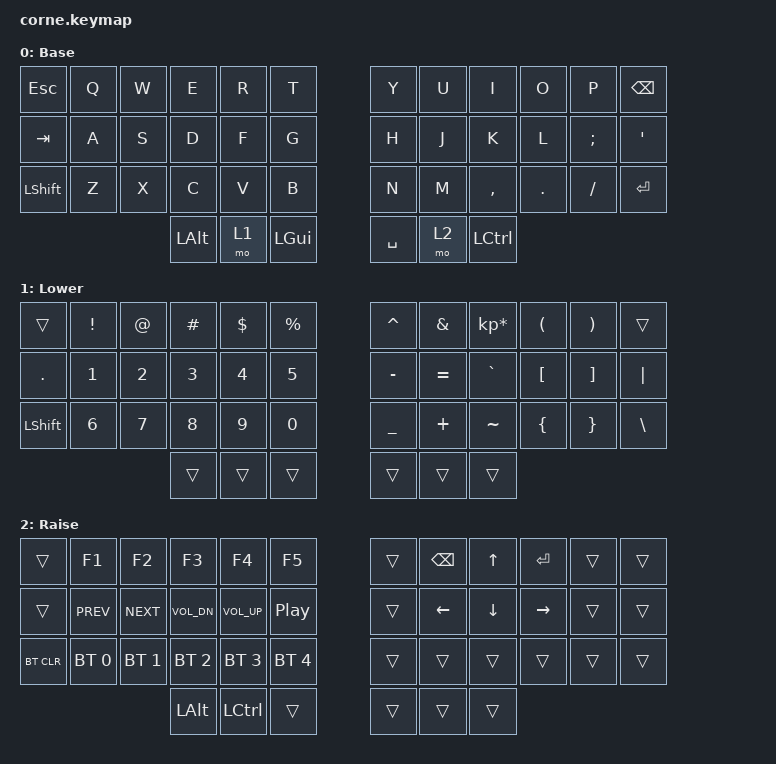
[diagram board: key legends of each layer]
/*
 * Copyright (c) 2020 The ZMK Contributors
 *
 * SPDX-License-Identifier: MIT
 */

#include <behaviors.dtsi>
#include <dt-bindings/zmk/keys.h>
#include <dt-bindings/zmk/bt.h>
#include <dt-bindings/zmk/backlight.h>

/ {
        keymap {
                compatible = "zmk,keymap";

                default_layer {
// -----------------------------------------------------------------------------------------
// | ESC  |  Q  |  W  |  E    |  R  |  T  |           |  Y  |  U   |  I  |  O  |  P  | BSPC |
// | TAB  |  A  |  S  |  D    |  F  |  G  |           |  H  |  J   |  K  |  L  |  ;  |  '   |
// | SHFT |  Z  |  X  |  C    |  V  |  B  |           |  N  |  M   |  ,  |  .  |  /  | ?    |
//                    | ALT   | LWR | GUI |           | SPC | RSE  | RET |
                        label = "Base";
                        bindings = <
   &kp ESC    &kp Q &kp W &kp E     &kp R   &kp T       &kp Y       &kp U  &kp I     &kp O   &kp P    &kp BSPC
   &kp TAB    &kp A &kp S &kp D     &kp F   &kp G       &kp H       &kp J  &kp K     &kp L   &kp SEMI &kp SQT
   &kp LSHFT  &kp Z &kp X &kp C     &kp V   &kp B       &kp N       &kp M  &kp COMMA &kp DOT &kp FSLH &kp RET
                          &kp LALT  &mo 1   &kp LGUI    &kp SPACE   &mo 2  &kp LCTRL
                        >;
                };
                lower_layer {
// -----------------------------------------------------------------------------------------
// |      |  !  |  @  |  #  |  $  |    %     |   |  ^  |  &  |  *  |  (  |  )  |   \   |
// |      |  1  |  2  |  3  |  4  |    5     |   |  -  |  =  |  `  |  [  |  ]  |  "|"  |
// | SHFT |  6  |  7  |  8  |  9  |    0     |   |  _  |  +  |  ~  |  {  |  }  |       |
//                     | GUI |     | ALT/ENT |   | HYPER/SPACE | BKSP |    |
                        label = "Lower";
                        bindings = <
   &trans     &kp EXCL  &kp AT &kp HASH &kp DLLR &kp PRCNT    &kp CARET  &kp AMPS  &kp KP_MULTIPLY &kp LPAR &kp RPAR &trans
   &kp DOT    &kp N1    &kp N2 &kp N3   &kp N4   &kp N5       &kp MINUS  &kp EQUAL &kp GRAVE       &kp LBKT &kp RBKT &kp PIPE
   &kp LSHFT  &kp N6    &kp N7 &kp N8   &kp N9   &kp N0       &kp UNDER  &kp PLUS  &kp TILDE       &kp LBRC &kp RBRC &kp BSLH
                             &trans   &trans   &trans         &trans     &trans    &trans
                        >;
                };
                raise_layer {
// -----------------------------------------------------------------------------------------
// |       |  F1  |  F2  |  F3  |  F4  |  F5 |            |      |  BSPC |  UP  |  RET |     |     |
// |       | Prev | Next | Vol - | Vol + | Play/Pause |   |      | LFT   | DWN  |  UP  | RGT |     |
// | BTCLR | BT1 | BT2 | BT3 | BT4 | BT5 |   |            |      |       |      |      |     |     |
//                    |     |     |    |                  |  GUI |  ALT  |      |
                        label = "Raise";
                        bindings = <
   &trans     &kp F1        &kp F2       &kp F3       &kp F4       &kp F5          &trans   &kp BSPC &kp UP   &kp RET   &trans &trans
   &trans     &kp C_PREV    &kp C_NEXT   &kp C_VOL_DN &kp C_VOL_UP &kp C_PP        &trans   &kp LEFT &kp DOWN &kp RIGHT &trans &trans
   &bt BT_CLR &bt BT_SEL 0  &bt BT_SEL 1 &bt BT_SEL 2 &bt BT_SEL 3 &bt BT_SEL 4    &trans   &trans   &trans   &trans    &trans &trans
                          	         &kp LALT   &kp LCTRL   &trans                  &trans   &trans   &trans
                        >;
                };
        };
};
